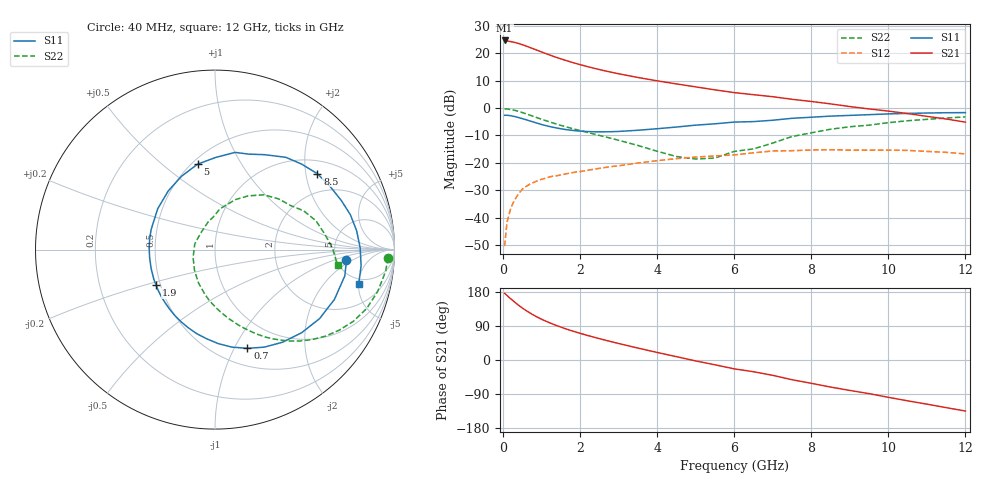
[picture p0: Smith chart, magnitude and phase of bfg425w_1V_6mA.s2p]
! Filename: 16bfg425.001
! BFG425W Field C1
! V1=8.393E-001V,V2=1.000E+000V, I1=8.543E-005A, I2=6.000E-003A
# GHz  S  MA  R 50
!  S11  S21  S12  S22
!Freq(GHz)  Mag  Ang  Mag  Ang  Mag  Ang  Mag  Ang
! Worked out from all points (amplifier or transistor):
!   44 points, 40 MHz to 12 GHz, reference 50 ohm
!   highest |S21| = 24.7 dB at 40 MHz (marker M1)
!   |S21| within 3 dB of that: start of sweep to 777.1 MHz
!   unconditionally stable (mu >= 1): 2.233 GHz to end of sweep
!   at 700 MHz: K = 0.39, MSG = 24.9 dB, |S12| = -27.7 dB
!   at 2.4 GHz: K = 1.04, MAG = 17.1 dB, |S12| = -22.3 dB
!   at 12 GHz: K = 1.46, MAG = 1.8 dB, |S12| = -16.8 dB
!   S11 on the Smith chart (normalised r, x): 40 MHz: 6.12, -1.60; 700 MHz: 0.68, -1.13; 1.9 GHz: 0.47, -0.22; 5 GHz: 0.53, +0.67; 8.5 GHz: 1.36, +2.33; 12 GHz: 4.28, -5.02
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0.04  0.735 -4.7  17.09 175.9  0.003 84.3  0.964 -2.7
0.1  0.738 -11.4  16.73 170.5  0.008 84.4  0.959 -7.1
0.2  0.721 -22.6  16.29 161.3  0.015 77.3  0.936 -14.4
0.3  0.698 -33.5  15.76 153.0  0.021 71.4  0.907 -21.2
0.4  0.669 -43.8  15.06 144.8  0.027 65.8  0.868 -27.4
0.5  0.639 -53.9  14.31 137.1  0.033 61.2  0.825 -33.0
0.6  0.609 -63.2  13.48 130.3  0.037 57.1  0.782 -38.1
0.7  0.579 -71.8  12.68 124.0  0.041 53.2  0.738 -42.8
0.9  0.524 -88.0  11.22 112.6  0.047 47.3  0.658 -50.7
1  0.499 -95.4  10.53 107.6  0.05 45.0  0.622 -54.1
1.2  0.46 -109.0  9.33 98.5  0.055 41.0  0.56 -60.3
1.5  0.417 -127.4  7.891 86.8  0.06 36.7  0.481 -68.1
1.9  0.383 -149.0  6.468 73.5  0.068 32.5  0.403 -77.2
2.2  0.371 -163.6  5.669 64.6  0.073 29.7  0.356 -83.8
3  0.373 162.5  4.212 43.5  0.088 22.3  0.257 -102.4
3.5  0.392 144.6  3.604 31.5  0.099 17.0  0.207 -116.5
4.5  0.449 114.6  2.749 8.8  0.119 4.6  0.13 -159.9
5  0.486 101.5  2.428 -2.4  0.127 -3.0  0.117 164.1
6.5  0.564 70.6  1.749 -30.9  0.152 -19.8  0.179 93.9
8.5  0.71 36.6  1.188 -71.4  0.173 -54.6  0.409 48.3
10.5  0.796 7.6  0.791 -107.7  0.168 -87.9  0.585 16.0
12  0.823 -13.3  0.551 -134.7  0.145 -116.5  0.688 -7.2
